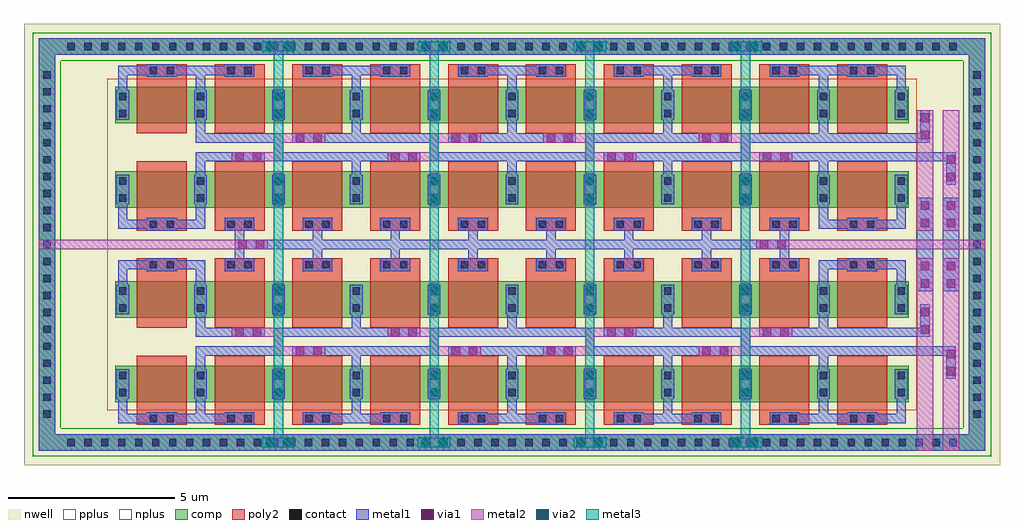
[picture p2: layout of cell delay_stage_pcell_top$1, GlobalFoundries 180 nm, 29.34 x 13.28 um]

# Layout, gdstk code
from math import pi, radians
import gdstk
lib = gdstk.Library(unit=1e-6, precision=5e-09)
def R(c, l, rs):  # rectangles x0, y0, x1, y1
    for r in rs: c.add(gdstk.rectangle(r[:2], r[2:], *l))
def A(c, l, x, y, w, h, nx, ny, dx, dy):  # array of equal rectangles
    R(c, l, [(x+i*dx, y+j*dy, x+i*dx+w, y+j*dy+h) for i in range(nx) for j in range(ny)])
nwell = (21, 0)
comp = (22, 0)
poly2 = (30, 0)
pplus = (31, 0)
nplus = (32, 0)
contact = (33, 0)
metal1 = (34, 0)
via1 = (35, 0)
metal2 = (36, 0)
via2 = (38, 0)
metal3 = (42, 0)

m1_m2_3_1 = lib.new_cell('M1_M2$3$1')
R(m1_m2_3_1, via1, [(0.1,0.01,0.36,0.27), (0.62,0.01,0.88,0.27)])
m1_m2_3_1.add(gdstk.FlexPath([(0,0.14),(0.98,0.14)], 0.28, ends="flush", simple_path=True, layer=34, datatype=0))  # metal1
m1_m2_3_1.add(gdstk.FlexPath([(0,0.14),(0.98,0.14)], 0.28, ends="flush", simple_path=True, layer=36, datatype=0))  # metal2

delay_stage_pcell_1_1_1_ = lib.new_cell('delay_stage_pcell_1$1$1$1')
R(delay_stage_pcell_1_1_1_, comp, [(0.17,0.3,0.63,1.4), (0.63,0.3,2.51,1.4), (2.51,0.3,2.97,1.4)])
R(delay_stage_pcell_1_1_1_, poly2, [(0.82,0,2.32,1.7)])
R(delay_stage_pcell_1_1_1_, contact, [(0.29,0.485,0.51,0.705), (2.63,0.485,2.85,0.705), (0.29,0.995,0.51,1.215), (2.63,0.995,2.85,1.215)])
R(delay_stage_pcell_1_1_1_, metal1, [(0.21,0.405,0.59,1.295), (2.55,0.405,2.93,1.295)])

delay_stage_pcell_1_4_1_ = lib.new_cell('delay_stage_pcell_1_4$1$1')
R(delay_stage_pcell_1_4_1_, poly2, [(0.65,0,2.15,0.38), (0.65,4.62,2.15,5), (0.65,5.84,2.15,6.22), (0.65,10.46,2.15,10.84)])
R(delay_stage_pcell_1_4_1_, contact, [(1.035,0.08,1.255,0.3), (1.545,0.08,1.765,0.3), (1.035,4.7,1.255,4.92), (1.545,4.7,1.765,4.92), (1.035,5.92,1.255,6.14), (1.545,5.92,1.765,6.14), (1.035,10.54,1.255,10.76), (1.545,10.54,1.765,10.76)])
R(delay_stage_pcell_1_4_1_, metal1, [(0.955,0,1.845,0.38), (0.955,4.62,1.845,5), (0.955,5.84,1.845,6.22), (0.955,10.46,1.845,10.84)])
delay_stage_pcell_1_4_1_.add(gdstk.FlexPath([(2.57,10.055),(2.57,10.65),(0.23,10.65),(0.23,10.055)], 0.28, ends="flush", simple_path=True, layer=34, datatype=0))  # metal1
delay_stage_pcell_1_4_1_.add(gdstk.FlexPath([(2.57,0.785),(2.57,0.19),(0.23,0.19),(0.23,0.785)], 0.28, ends="flush", simple_path=True, layer=34, datatype=0))  # metal1
delay_stage_pcell_1_4_1_.add(gdstk.FlexPath([(2.57,6.625),(2.57,6.03),(0.23,6.03),(0.23,6.625)], 0.28, ends="flush", simple_path=True, layer=34, datatype=0))  # metal1
delay_stage_pcell_1_4_1_.add(gdstk.FlexPath([(2.57,4.215),(2.57,4.81),(0.23,4.81),(0.23,4.215)], 0.28, ends="flush", simple_path=True, layer=34, datatype=0))  # metal1
delay_stage_pcell_1_4_1_.add(gdstk.Reference(delay_stage_pcell_1_1_1_, (-0.17,6.22)))
delay_stage_pcell_1_4_1_.add(gdstk.Reference(delay_stage_pcell_1_1_1_, (-0.17,0.38)))
delay_stage_pcell_1_4_1_.add(gdstk.Reference(delay_stage_pcell_1_1_1_, (-0.17,2.92)))
delay_stage_pcell_1_4_1_.add(gdstk.Reference(delay_stage_pcell_1_1_1_, (-0.17,8.76)))

delay_stage_pcell_1_2_2_ = lib.new_cell('delay_stage_pcell_1$2$2$1$1')
R(delay_stage_pcell_1_2_2_, comp, [(0.17,0.3,0.63,1.4), (0.63,0.3,2.51,1.4), (2.51,0.3,2.97,1.4)])
R(delay_stage_pcell_1_2_2_, poly2, [(0.82,0,2.32,1.7)])
R(delay_stage_pcell_1_2_2_, contact, [(0.29,0.485,0.51,0.705), (2.63,0.485,2.85,0.705), (0.29,0.995,0.51,1.215), (2.63,0.995,2.85,1.215)])
R(delay_stage_pcell_1_2_2_, metal1, [(0.21,0.405,0.59,1.295), (2.55,0.405,2.93,1.295)])

delay_stage_pcell_4_2_1_ = lib.new_cell('delay_stage_pcell_4$2$1$1')
delay_stage_pcell_4_2_1_.add(gdstk.Reference(delay_stage_pcell_1_2_2_, (-0.17,0)))
delay_stage_pcell_4_2_1_.add(gdstk.Reference(delay_stage_pcell_1_2_2_, (2.17,0)))
delay_stage_pcell_4_2_1_.add(gdstk.Reference(delay_stage_pcell_1_2_2_, (4.51,0)))
delay_stage_pcell_4_2_1_.add(gdstk.Reference(delay_stage_pcell_1_2_2_, (6.85,0)))

delay_stage_pcell_4_4_1_ = lib.new_cell('delay_stage_pcell_4_4$1$1')
R(delay_stage_pcell_4_4_1_, poly2, [(0.65,0,2.15,0.38), (0.65,0,2.15,0.38), (2.99,0,4.49,0.38), (2.99,0,4.49,0.38), (5.33,0,6.83,0.38), (5.33,0,6.83,0.38), (7.67,0,9.17,0.38), (7.67,0,9.17,0.38), (0.65,4.62,2.15,5), (0.65,4.62,2.15,5), (2.99,4.62,4.49,5), (2.99,4.62,4.49,5), (5.33,4.62,6.83,5), (5.33,4.62,6.83,5), (7.67,4.62,9.17,5), (7.67,4.62,9.17,5), (0.65,5.84,2.15,6.22), (0.65,5.84,2.15,6.22), (2.99,5.84,4.49,6.22), (2.99,5.84,4.49,6.22), (5.33,5.84,6.83,6.22), (5.33,5.84,6.83,6.22), (7.67,5.84,9.17,6.22), (7.67,5.84,9.17,6.22), (0.65,10.46,2.15,10.84), (0.65,10.46,2.15,10.84), (2.99,10.46,4.49,10.84), (2.99,10.46,4.49,10.84), (5.33,10.46,6.83,10.84), (5.33,10.46,6.83,10.84), (7.67,10.46,9.17,10.84), (7.67,10.46,9.17,10.84)])
R(delay_stage_pcell_4_4_1_, contact, [(1.035,0.08,1.255,0.3), (1.035,0.08,1.255,0.3), (1.545,0.08,1.765,0.3), (1.545,0.08,1.765,0.3), (3.375,0.08,3.595,0.3), (3.375,0.08,3.595,0.3), (3.885,0.08,4.105,0.3), (3.885,0.08,4.105,0.3), (5.715,0.08,5.935,0.3), (5.715,0.08,5.935,0.3), (6.225,0.08,6.445,0.3), (6.225,0.08,6.445,0.3), (8.055,0.08,8.275,0.3), (8.055,0.08,8.275,0.3), (8.565,0.08,8.785,0.3), (8.565,0.08,8.785,0.3), (1.035,4.7,1.255,4.92), (1.035,4.7,1.255,4.92), (1.545,4.7,1.765,4.92), (1.545,4.7,1.765,4.92), (3.375,4.7,3.595,4.92), (3.375,4.7,3.595,4.92), (3.885,4.7,4.105,4.92), (3.885,4.7,4.105,4.92), (5.715,4.7,5.935,4.92), (5.715,4.7,5.935,4.92), (6.225,4.7,6.445,4.92), (6.225,4.7,6.445,4.92), (8.055,4.7,8.275,4.92), (8.055,4.7,8.275,4.92), (8.565,4.7,8.785,4.92), (8.565,4.7,8.785,4.92), (1.035,5.92,1.255,6.14), (1.035,5.92,1.255,6.14), (1.545,5.92,1.765,6.14), (1.545,5.92,1.765,6.14), (3.375,5.92,3.595,6.14), (3.375,5.92,3.595,6.14), (3.885,5.92,4.105,6.14), (3.885,5.92,4.105,6.14), (5.715,5.92,5.935,6.14), (5.715,5.92,5.935,6.14), (6.225,5.92,6.445,6.14), (6.225,5.92,6.445,6.14), (8.055,5.92,8.275,6.14), (8.055,5.92,8.275,6.14), (8.565,5.92,8.785,6.14), (8.565,5.92,8.785,6.14), (1.035,10.54,1.255,10.76), (1.035,10.54,1.255,10.76), (1.545,10.54,1.765,10.76), (1.545,10.54,1.765,10.76), (3.375,10.54,3.595,10.76), (3.375,10.54,3.595,10.76), (3.885,10.54,4.105,10.76), (3.885,10.54,4.105,10.76), (5.715,10.54,5.935,10.76), (5.715,10.54,5.935,10.76), (6.225,10.54,6.445,10.76), (6.225,10.54,6.445,10.76), (8.055,10.54,8.275,10.76), (8.055,10.54,8.275,10.76), (8.565,10.54,8.785,10.76), (8.565,10.54,8.785,10.76)])
R(delay_stage_pcell_4_4_1_, metal1, [(0.955,0,1.845,0.38), (3.295,0,4.185,0.38), (3.295,0,4.185,0.38), (5.635,0,6.525,0.38), (5.635,0,6.525,0.38), (7.975,0,8.865,0.38), (0.955,4.62,1.845,5), (0.955,4.62,1.845,5), (3.295,4.62,4.185,5), (3.295,4.62,4.185,5), (5.635,4.62,6.525,5), (5.635,4.62,6.525,5), (7.975,4.62,8.865,5), (0.955,5.84,1.845,6.22), (0.955,5.84,1.845,6.22), (3.295,5.84,4.185,6.22), (3.295,5.84,4.185,6.22), (5.635,5.84,6.525,6.22), (5.635,5.84,6.525,6.22), (7.975,5.84,8.865,6.22), (7.975,5.84,8.865,6.22), (0.955,10.46,1.845,10.84), (3.295,10.46,4.185,10.84), (3.295,10.46,4.185,10.84), (5.635,10.46,6.525,10.84), (5.635,10.46,6.525,10.84), (7.975,10.46,8.865,10.84)])
R(delay_stage_pcell_4_4_1_, via1, [(2.44,0.84,2.7,1.1), (7.12,0.84,7.38,1.1), (2.44,1.36,2.7,1.62), (7.12,1.36,7.38,1.62), (1.27,2.09,1.53,2.35), (1.27,2.09,1.53,2.35), (1.79,2.09,2.05,2.35), (1.79,2.09,2.05,2.35), (5.95,2.09,6.21,2.35), (5.95,2.09,6.21,2.35), (6.47,2.09,6.73,2.35), (6.47,2.09,6.73,2.35), (3.09,2.65,3.35,2.91), (3.09,2.65,3.35,2.91), (3.61,2.65,3.87,2.91), (3.61,2.65,3.87,2.91), (7.77,2.65,8.03,2.91), (7.77,2.65,8.03,2.91), (8.29,2.65,8.55,2.91), (8.29,2.65,8.55,2.91), (2.44,3.38,2.7,3.64), (7.12,3.38,7.38,3.64), (2.44,3.9,2.7,4.16), (7.12,3.9,7.38,4.16), (2.44,6.68,2.7,6.94), (7.12,6.68,7.38,6.94), (2.44,7.2,2.7,7.46), (7.12,7.2,7.38,7.46), (3.09,7.93,3.35,8.19), (3.09,7.93,3.35,8.19), (3.61,7.93,3.87,8.19), (3.61,7.93,3.87,8.19), (7.77,7.93,8.03,8.19), (7.77,7.93,8.03,8.19), (8.29,7.93,8.55,8.19), (8.29,7.93,8.55,8.19), (1.27,8.49,1.53,8.75), (1.27,8.49,1.53,8.75), (1.79,8.49,2.05,8.75), (1.79,8.49,2.05,8.75), (5.95,8.49,6.21,8.75), (5.95,8.49,6.21,8.75), (6.47,8.49,6.73,8.75), (6.47,8.49,6.73,8.75), (2.44,9.22,2.7,9.48), (7.12,9.22,7.38,9.48), (2.44,9.74,2.7,10), (7.12,9.74,7.38,10)])
R(delay_stage_pcell_4_4_1_, via2, [(2.44,0.84,2.7,1.1), (7.12,0.84,7.38,1.1), (2.44,1.36,2.7,1.62), (7.12,1.36,7.38,1.62), (2.44,3.38,2.7,3.64), (7.12,3.38,7.38,3.64), (2.44,3.9,2.7,4.16), (7.12,3.9,7.38,4.16), (2.44,6.68,2.7,6.94), (7.12,6.68,7.38,6.94), (2.44,7.2,2.7,7.46), (7.12,7.2,7.38,7.46), (2.44,9.22,2.7,9.48), (7.12,9.22,7.38,9.48), (2.44,9.74,2.7,10), (7.12,9.74,7.38,10)])
delay_stage_pcell_4_4_1_.add(gdstk.FlexPath([(8.56,5.42),(0.23,5.42)], 0.28, ends="flush", simple_path=True, layer=34, datatype=0))  # metal1
delay_stage_pcell_4_4_1_.add(gdstk.FlexPath([(4.185,10.65),(5.635,10.65)], 0.28, ends="flush", simple_path=True, layer=34, datatype=0))  # metal1
delay_stage_pcell_4_4_1_.add(gdstk.FlexPath([(4.91,10.055),(4.91,10.51)], 0.28, ends="flush", simple_path=True, layer=34, datatype=0))  # metal1
delay_stage_pcell_4_4_1_.add(gdstk.FlexPath([(0.955,10.65),(0.23,10.65),(0.23,10.055)], 0.28, ends="flush", simple_path=True, layer=34, datatype=0))  # metal1
delay_stage_pcell_4_4_1_.add(gdstk.FlexPath([(8.865,10.65),(9.59,10.65),(9.59,10.055)], 0.28, ends="flush", simple_path=True, layer=34, datatype=0))  # metal1
delay_stage_pcell_4_4_1_.add(gdstk.FlexPath([(4.185,0.19),(5.635,0.19)], 0.28, ends="flush", simple_path=True, layer=34, datatype=0))  # metal1
delay_stage_pcell_4_4_1_.add(gdstk.FlexPath([(4.91,0.785),(4.91,0.33)], 0.28, ends="flush", simple_path=True, layer=34, datatype=0))  # metal1
delay_stage_pcell_4_4_1_.add(gdstk.FlexPath([(0.955,0.19),(0.23,0.19),(0.23,0.785)], 0.28, ends="flush", simple_path=True, layer=34, datatype=0))  # metal1
delay_stage_pcell_4_4_1_.add(gdstk.FlexPath([(8.865,0.19),(9.59,0.19),(9.59,0.785)], 0.28, ends="flush", simple_path=True, layer=34, datatype=0))  # metal1
delay_stage_pcell_4_4_1_.add(gdstk.FlexPath([(9.59,1.675),(9.59,2.22),(8.65,2.22)], 0.28, ends="flush", simple_path=True, layer=34, datatype=0))  # metal1
delay_stage_pcell_4_4_1_.add(gdstk.FlexPath([(9.59,1.675),(9.59,2.22),(8.65,2.22)], 0.28, ends="flush", simple_path=True, layer=34, datatype=0))  # metal1
delay_stage_pcell_4_4_1_.add(gdstk.FlexPath([(4.91,1.675),(4.91,2.08)], 0.28, ends="flush", simple_path=True, layer=34, datatype=0))  # metal1
delay_stage_pcell_4_4_1_.add(gdstk.FlexPath([(4.91,1.675),(4.91,2.08)], 0.28, ends="flush", simple_path=True, layer=34, datatype=0))  # metal1
delay_stage_pcell_4_4_1_.add(gdstk.FlexPath([(0.23,1.675),(0.23,2.22),(1.17,2.22)], 0.28, ends="flush", simple_path=True, layer=34, datatype=0))  # metal1
delay_stage_pcell_4_4_1_.add(gdstk.FlexPath([(0.23,1.675),(0.23,2.22),(1.17,2.22)], 0.28, ends="flush", simple_path=True, layer=34, datatype=0))  # metal1
delay_stage_pcell_4_4_1_.add(gdstk.FlexPath([(8.65,2.22),(7.25,2.22),(7.25,2.78),(5.85,2.78)], 0.28, ends="flush", simple_path=True, layer=34, datatype=0))  # metal1
delay_stage_pcell_4_4_1_.add(gdstk.FlexPath([(8.65,2.22),(7.25,2.22),(7.25,2.78),(5.85,2.78)], 0.28, ends="flush", simple_path=True, layer=34, datatype=0))  # metal1
delay_stage_pcell_4_4_1_.add(gdstk.FlexPath([(6.83,2.22),(5.85,2.22)], 0.28, ends="flush", simple_path=True, layer=34, datatype=0))  # metal1
delay_stage_pcell_4_4_1_.add(gdstk.FlexPath([(6.83,2.22),(5.85,2.22)], 0.28, ends="flush", simple_path=True, layer=34, datatype=0))  # metal1
delay_stage_pcell_4_4_1_.add(gdstk.FlexPath([(3.97,2.22),(5.85,2.22)], 0.28, ends="flush", simple_path=True, layer=34, datatype=0))  # metal1
delay_stage_pcell_4_4_1_.add(gdstk.FlexPath([(3.97,2.22),(5.85,2.22)], 0.28, ends="flush", simple_path=True, layer=34, datatype=0))  # metal1
delay_stage_pcell_4_4_1_.add(gdstk.FlexPath([(3.97,2.22),(2.57,2.22),(2.57,2.78),(1.17,2.78)], 0.28, ends="flush", simple_path=True, layer=34, datatype=0))  # metal1
delay_stage_pcell_4_4_1_.add(gdstk.FlexPath([(3.97,2.22),(2.57,2.22),(2.57,2.78),(1.17,2.78)], 0.28, ends="flush", simple_path=True, layer=34, datatype=0))  # metal1
delay_stage_pcell_4_4_1_.add(gdstk.FlexPath([(2.15,2.22),(1.17,2.22)], 0.28, ends="flush", simple_path=True, layer=34, datatype=0))  # metal1
delay_stage_pcell_4_4_1_.add(gdstk.FlexPath([(2.15,2.22),(1.17,2.22)], 0.28, ends="flush", simple_path=True, layer=34, datatype=0))  # metal1
delay_stage_pcell_4_4_1_.add(gdstk.FlexPath([(8.65,2.78),(7.67,2.78)], 0.28, ends="flush", simple_path=True, layer=34, datatype=0))  # metal1
delay_stage_pcell_4_4_1_.add(gdstk.FlexPath([(8.65,2.78),(7.67,2.78)], 0.28, ends="flush", simple_path=True, layer=34, datatype=0))  # metal1
delay_stage_pcell_4_4_1_.add(gdstk.FlexPath([(3.97,2.78),(5.85,2.78)], 0.28, ends="flush", simple_path=True, layer=34, datatype=0))  # metal1
delay_stage_pcell_4_4_1_.add(gdstk.FlexPath([(3.97,2.78),(5.85,2.78)], 0.28, ends="flush", simple_path=True, layer=34, datatype=0))  # metal1
delay_stage_pcell_4_4_1_.add(gdstk.FlexPath([(3.97,2.78),(2.99,2.78)], 0.28, ends="flush", simple_path=True, layer=34, datatype=0))  # metal1
delay_stage_pcell_4_4_1_.add(gdstk.FlexPath([(3.97,2.78),(2.99,2.78)], 0.28, ends="flush", simple_path=True, layer=34, datatype=0))  # metal1
delay_stage_pcell_4_4_1_.add(gdstk.FlexPath([(1.17,2.78),(0.23,2.78),(0.23,3.325)], 0.28, ends="flush", simple_path=True, layer=34, datatype=0))  # metal1
delay_stage_pcell_4_4_1_.add(gdstk.FlexPath([(1.17,2.78),(0.23,2.78),(0.23,3.325)], 0.28, ends="flush", simple_path=True, layer=34, datatype=0))  # metal1
delay_stage_pcell_4_4_1_.add(gdstk.FlexPath([(9.59,3.325),(9.59,2.78),(8.65,2.78)], 0.28, ends="flush", simple_path=True, layer=34, datatype=0))  # metal1
delay_stage_pcell_4_4_1_.add(gdstk.FlexPath([(9.59,3.325),(9.59,2.78),(8.65,2.78)], 0.28, ends="flush", simple_path=True, layer=34, datatype=0))  # metal1
delay_stage_pcell_4_4_1_.add(gdstk.FlexPath([(4.91,3.325),(4.91,2.92)], 0.28, ends="flush", simple_path=True, layer=34, datatype=0))  # metal1
delay_stage_pcell_4_4_1_.add(gdstk.FlexPath([(4.91,3.325),(4.91,2.92)], 0.28, ends="flush", simple_path=True, layer=34, datatype=0))  # metal1
delay_stage_pcell_4_4_1_.add(gdstk.FlexPath([(9.59,7.515),(9.59,8.06),(8.65,8.06)], 0.28, ends="flush", simple_path=True, layer=34, datatype=0))  # metal1
delay_stage_pcell_4_4_1_.add(gdstk.FlexPath([(9.59,9.165),(9.59,8.62),(8.65,8.62)], 0.28, ends="flush", simple_path=True, layer=34, datatype=0))  # metal1
delay_stage_pcell_4_4_1_.add(gdstk.FlexPath([(4.91,9.165),(4.91,8.76)], 0.28, ends="flush", simple_path=True, layer=34, datatype=0))  # metal1
delay_stage_pcell_4_4_1_.add(gdstk.FlexPath([(4.91,7.515),(4.91,7.92)], 0.28, ends="flush", simple_path=True, layer=34, datatype=0))  # metal1
delay_stage_pcell_4_4_1_.add(gdstk.FlexPath([(1.17,8.06),(0.23,8.06),(0.23,7.515)], 0.28, ends="flush", simple_path=True, layer=34, datatype=0))  # metal1
delay_stage_pcell_4_4_1_.add(gdstk.FlexPath([(0.23,9.165),(0.23,8.62),(1.17,8.62)], 0.28, ends="flush", simple_path=True, layer=34, datatype=0))  # metal1
delay_stage_pcell_4_4_1_.add(gdstk.FlexPath([(8.65,8.62),(7.25,8.62),(7.25,8.06),(5.85,8.06)], 0.28, ends="flush", simple_path=True, layer=34, datatype=0))  # metal1
delay_stage_pcell_4_4_1_.add(gdstk.FlexPath([(3.97,8.62),(2.57,8.62),(2.57,8.06),(1.17,8.06)], 0.28, ends="flush", simple_path=True, layer=34, datatype=0))  # metal1
delay_stage_pcell_4_4_1_.add(gdstk.FlexPath([(2.15,8.62),(1.17,8.62)], 0.28, ends="flush", simple_path=True, layer=34, datatype=0))  # metal1
delay_stage_pcell_4_4_1_.add(gdstk.FlexPath([(3.97,8.06),(2.99,8.06)], 0.28, ends="flush", simple_path=True, layer=34, datatype=0))  # metal1
delay_stage_pcell_4_4_1_.add(gdstk.FlexPath([(8.65,8.06),(7.67,8.06)], 0.28, ends="flush", simple_path=True, layer=34, datatype=0))  # metal1
delay_stage_pcell_4_4_1_.add(gdstk.FlexPath([(6.83,8.62),(5.85,8.62)], 0.28, ends="flush", simple_path=True, layer=34, datatype=0))  # metal1
delay_stage_pcell_4_4_1_.add(gdstk.FlexPath([(3.97,8.62),(5.85,8.62)], 0.28, ends="flush", simple_path=True, layer=34, datatype=0))  # metal1
delay_stage_pcell_4_4_1_.add(gdstk.FlexPath([(3.97,8.06),(5.85,8.06)], 0.28, ends="flush", simple_path=True, layer=34, datatype=0))  # metal1
delay_stage_pcell_4_4_1_.add(gdstk.FlexPath([(3.97,8.06),(5.85,8.06)], 0.28, ends="flush", simple_path=True, layer=34, datatype=0))  # metal1
delay_stage_pcell_4_4_1_.add(gdstk.FlexPath([(3.97,8.62),(5.85,8.62)], 0.28, ends="flush", simple_path=True, layer=34, datatype=0))  # metal1
delay_stage_pcell_4_4_1_.add(gdstk.FlexPath([(6.83,8.62),(5.85,8.62)], 0.28, ends="flush", simple_path=True, layer=34, datatype=0))  # metal1
delay_stage_pcell_4_4_1_.add(gdstk.FlexPath([(8.65,8.06),(7.67,8.06)], 0.28, ends="flush", simple_path=True, layer=34, datatype=0))  # metal1
delay_stage_pcell_4_4_1_.add(gdstk.FlexPath([(3.97,8.06),(2.99,8.06)], 0.28, ends="flush", simple_path=True, layer=34, datatype=0))  # metal1
delay_stage_pcell_4_4_1_.add(gdstk.FlexPath([(2.15,8.62),(1.17,8.62)], 0.28, ends="flush", simple_path=True, layer=34, datatype=0))  # metal1
delay_stage_pcell_4_4_1_.add(gdstk.FlexPath([(3.97,8.62),(2.57,8.62),(2.57,8.06),(1.17,8.06)], 0.28, ends="flush", simple_path=True, layer=34, datatype=0))  # metal1
delay_stage_pcell_4_4_1_.add(gdstk.FlexPath([(8.65,8.62),(7.25,8.62),(7.25,8.06),(5.85,8.06)], 0.28, ends="flush", simple_path=True, layer=34, datatype=0))  # metal1
delay_stage_pcell_4_4_1_.add(gdstk.FlexPath([(0.23,9.165),(0.23,8.62),(1.17,8.62)], 0.28, ends="flush", simple_path=True, layer=34, datatype=0))  # metal1
delay_stage_pcell_4_4_1_.add(gdstk.FlexPath([(1.17,8.06),(0.23,8.06),(0.23,7.515)], 0.28, ends="flush", simple_path=True, layer=34, datatype=0))  # metal1
delay_stage_pcell_4_4_1_.add(gdstk.FlexPath([(4.91,7.515),(4.91,7.92)], 0.28, ends="flush", simple_path=True, layer=34, datatype=0))  # metal1
delay_stage_pcell_4_4_1_.add(gdstk.FlexPath([(4.91,9.165),(4.91,8.76)], 0.28, ends="flush", simple_path=True, layer=34, datatype=0))  # metal1
delay_stage_pcell_4_4_1_.add(gdstk.FlexPath([(9.59,9.165),(9.59,8.62),(8.65,8.62)], 0.28, ends="flush", simple_path=True, layer=34, datatype=0))  # metal1
delay_stage_pcell_4_4_1_.add(gdstk.FlexPath([(9.59,7.515),(9.59,8.06),(8.65,8.06)], 0.28, ends="flush", simple_path=True, layer=34, datatype=0))  # metal1
delay_stage_pcell_4_4_1_.add(gdstk.FlexPath([(8.42,5),(8.42,5.28)], 0.28, ends="flush", simple_path=True, layer=34, datatype=0))  # metal1
delay_stage_pcell_4_4_1_.add(gdstk.FlexPath([(8.42,5.84),(8.42,5.56)], 0.28, ends="flush", simple_path=True, layer=34, datatype=0))  # metal1
delay_stage_pcell_4_4_1_.add(gdstk.FlexPath([(6.08,5),(6.08,5.28)], 0.28, ends="flush", simple_path=True, layer=34, datatype=0))  # metal1
delay_stage_pcell_4_4_1_.add(gdstk.FlexPath([(6.08,5.84),(6.08,5.56)], 0.28, ends="flush", simple_path=True, layer=34, datatype=0))  # metal1
delay_stage_pcell_4_4_1_.add(gdstk.FlexPath([(3.74,5),(3.74,5.28)], 0.28, ends="flush", simple_path=True, layer=34, datatype=0))  # metal1
delay_stage_pcell_4_4_1_.add(gdstk.FlexPath([(3.74,5.84),(3.74,5.56)], 0.28, ends="flush", simple_path=True, layer=34, datatype=0))  # metal1
delay_stage_pcell_4_4_1_.add(gdstk.FlexPath([(1.4,5),(1.4,5.28)], 0.28, ends="flush", simple_path=True, layer=34, datatype=0))  # metal1
delay_stage_pcell_4_4_1_.add(gdstk.FlexPath([(1.4,5.84),(1.4,5.56)], 0.28, ends="flush", simple_path=True, layer=34, datatype=0))  # metal1
delay_stage_pcell_4_4_1_.add(gdstk.FlexPath([(8.65,2.78),(7.25,2.78),(7.25,2.22),(5.85,2.22)], 0.28, ends="flush", simple_path=True, layer=36, datatype=0))  # metal2
delay_stage_pcell_4_4_1_.add(gdstk.FlexPath([(8.65,2.78),(7.25,2.78),(7.25,2.22),(5.85,2.22)], 0.28, ends="flush", simple_path=True, layer=36, datatype=0))  # metal2
delay_stage_pcell_4_4_1_.add(gdstk.FlexPath([(3.97,2.78),(2.57,2.78),(2.57,2.22),(1.17,2.22)], 0.28, ends="flush", simple_path=True, layer=36, datatype=0))  # metal2
delay_stage_pcell_4_4_1_.add(gdstk.FlexPath([(3.97,2.78),(2.57,2.78),(2.57,2.22),(1.17,2.22)], 0.28, ends="flush", simple_path=True, layer=36, datatype=0))  # metal2
delay_stage_pcell_4_4_1_.add(gdstk.FlexPath([(3.97,8.06),(2.57,8.06),(2.57,8.62),(1.17,8.62)], 0.28, ends="flush", simple_path=True, layer=36, datatype=0))  # metal2
delay_stage_pcell_4_4_1_.add(gdstk.FlexPath([(8.65,8.06),(7.25,8.06),(7.25,8.62),(5.85,8.62)], 0.28, ends="flush", simple_path=True, layer=36, datatype=0))  # metal2
delay_stage_pcell_4_4_1_.add(gdstk.FlexPath([(8.65,8.06),(7.25,8.06),(7.25,8.62),(5.85,8.62)], 0.28, ends="flush", simple_path=True, layer=36, datatype=0))  # metal2
delay_stage_pcell_4_4_1_.add(gdstk.FlexPath([(3.97,8.06),(2.57,8.06),(2.57,8.62),(1.17,8.62)], 0.28, ends="flush", simple_path=True, layer=36, datatype=0))  # metal2
delay_stage_pcell_4_4_1_.add(gdstk.FlexPath([(7.25,6.58),(7.25,7.56)], 0.28, ends="flush", simple_path=True, layer=36, datatype=0))  # metal2
delay_stage_pcell_4_4_1_.add(gdstk.FlexPath([(7.25,9.12),(7.25,10.1)], 0.28, ends="flush", simple_path=True, layer=36, datatype=0))  # metal2
delay_stage_pcell_4_4_1_.add(gdstk.FlexPath([(2.57,6.58),(2.57,7.56)], 0.28, ends="flush", simple_path=True, layer=36, datatype=0))  # metal2
delay_stage_pcell_4_4_1_.add(gdstk.FlexPath([(7.25,3.28),(7.25,4.26)], 0.28, ends="flush", simple_path=True, layer=36, datatype=0))  # metal2
delay_stage_pcell_4_4_1_.add(gdstk.FlexPath([(2.57,3.28),(2.57,4.26)], 0.28, ends="flush", simple_path=True, layer=36, datatype=0))  # metal2
delay_stage_pcell_4_4_1_.add(gdstk.FlexPath([(7.25,0.74),(7.25,1.72)], 0.28, ends="flush", simple_path=True, layer=36, datatype=0))  # metal2
delay_stage_pcell_4_4_1_.add(gdstk.FlexPath([(2.57,0.74),(2.57,1.72)], 0.28, ends="flush", simple_path=True, layer=36, datatype=0))  # metal2
delay_stage_pcell_4_4_1_.add(gdstk.FlexPath([(2.57,9.12),(2.57,10.1)], 0.28, ends="flush", simple_path=True, layer=36, datatype=0))  # metal2
delay_stage_pcell_4_4_1_.add(gdstk.FlexPath([(7.25,6.58),(7.25,7.56)], 0.28, ends="flush", simple_path=True, layer=42, datatype=0))  # metal3
delay_stage_pcell_4_4_1_.add(gdstk.FlexPath([(7.25,9.12),(7.25,10.1)], 0.28, ends="flush", simple_path=True, layer=42, datatype=0))  # metal3
delay_stage_pcell_4_4_1_.add(gdstk.FlexPath([(2.57,6.58),(2.57,7.56)], 0.28, ends="flush", simple_path=True, layer=42, datatype=0))  # metal3
delay_stage_pcell_4_4_1_.add(gdstk.FlexPath([(7.25,3.28),(7.25,4.26)], 0.28, ends="flush", simple_path=True, layer=42, datatype=0))  # metal3
delay_stage_pcell_4_4_1_.add(gdstk.FlexPath([(2.57,3.28),(2.57,4.26)], 0.28, ends="flush", simple_path=True, layer=42, datatype=0))  # metal3
delay_stage_pcell_4_4_1_.add(gdstk.FlexPath([(7.25,0.74),(7.25,1.72)], 0.28, ends="flush", simple_path=True, layer=42, datatype=0))  # metal3
delay_stage_pcell_4_4_1_.add(gdstk.FlexPath([(2.57,0.74),(2.57,1.72)], 0.28, ends="flush", simple_path=True, layer=42, datatype=0))  # metal3
delay_stage_pcell_4_4_1_.add(gdstk.FlexPath([(2.57,9.12),(2.57,10.1)], 0.28, ends="flush", simple_path=True, layer=42, datatype=0))  # metal3
delay_stage_pcell_4_4_1_.add(gdstk.Reference(delay_stage_pcell_4_2_1_, (9.82,7.92), rotation=pi))
delay_stage_pcell_4_4_1_.add(gdstk.Reference(delay_stage_pcell_4_2_1_, (9.82,2.08), rotation=pi))
delay_stage_pcell_4_4_1_.add(gdstk.Reference(delay_stage_pcell_4_2_1_, (9.82,8.76), rotation=pi, x_reflection=True))
delay_stage_pcell_4_4_1_.add(gdstk.Reference(delay_stage_pcell_4_2_1_, (9.82,2.92), rotation=pi, x_reflection=True))

delay_stage_pcell_top_1 = lib.new_cell('delay_stage_pcell_top$1')
R(delay_stage_pcell_top_1, nwell, [(0,0,29.34,13.28)])
R(delay_stage_pcell_top_1, pplus, [(2.5,1.66,26.84,11.62)])
A(delay_stage_pcell_top_1, contact, 1.3, 0.58, 0.22, 0.22, 53, 2, 0.51, 11.9)
A(delay_stage_pcell_top_1, contact, 0.58, 1.43, 0.22, 0.22, 1, 21, 0, 0.51)
A(delay_stage_pcell_top_1, contact, 28.54, 1.43, 0.22, 0.22, 1, 21, 0, 0.51)
R(delay_stage_pcell_top_1, via1, [(7.26,0.56,7.52,0.82), (7.78,0.56,8.04,0.82), (11.94,0.56,12.2,0.82), (12.46,0.56,12.72,0.82), (16.62,0.56,16.88,0.82), (17.14,0.56,17.4,0.82), (21.3,0.56,21.56,0.82), (21.82,0.56,22.08,0.82), (27.74,2.7,28,2.96), (27.74,2.7,28,2.96), (27.74,3.22,28,3.48), (27.74,3.22,28,3.48), (26.96,3.96,27.22,4.22), (26.96,3.96,27.22,4.22), (26.96,4.48,27.22,4.74), (26.96,4.48,27.22,4.74), (26.96,5.34,27.22,5.6), (26.96,5.34,27.22,5.6), (27.74,5.34,28,5.6), (27.74,5.34,28,5.6), (26.96,5.86,27.22,6.12), (26.96,5.86,27.22,6.12), (27.74,5.86,28,6.12), (27.74,5.86,28,6.12), (26.96,7.16,27.22,7.42), (26.96,7.16,27.22,7.42), (27.74,7.16,28,7.42), (27.74,7.16,28,7.42), (26.96,7.68,27.22,7.94), (26.96,7.68,27.22,7.94), (27.74,7.68,28,7.94), (27.74,7.68,28,7.94), (27.74,8.54,28,8.8), (27.74,8.54,28,8.8), (27.74,9.06,28,9.32), (27.74,9.06,28,9.32), (7.26,12.46,7.52,12.72), (7.78,12.46,8.04,12.72), (11.94,12.46,12.2,12.72), (12.46,12.46,12.72,12.72), (16.62,12.46,16.88,12.72), (17.14,12.46,17.4,12.72), (21.3,12.46,21.56,12.72), (21.82,12.46,22.08,12.72)])
R(delay_stage_pcell_top_1, via2, [(7.26,0.56,7.52,0.82), (7.78,0.56,8.04,0.82), (11.94,0.56,12.2,0.82), (12.46,0.56,12.72,0.82), (16.62,0.56,16.88,0.82), (17.14,0.56,17.4,0.82), (21.3,0.56,21.56,0.82), (21.82,0.56,22.08,0.82), (7.26,12.46,7.52,12.72), (7.78,12.46,8.04,12.72), (11.94,12.46,12.2,12.72), (12.46,12.46,12.72,12.72), (16.62,12.46,16.88,12.72), (17.14,12.46,17.4,12.72), (21.3,12.46,21.56,12.72), (21.82,12.46,22.08,12.72)])
delay_stage_pcell_top_1.add(gdstk.FlexPath([(24.17,4),(27.12,4)], 0.28, ends="flush", simple_path=True, layer=34, datatype=0))  # metal1
delay_stage_pcell_top_1.add(gdstk.FlexPath([(24.17,3.44),(27.73,3.44)], 0.28, ends="flush", simple_path=True, layer=34, datatype=0))  # metal1
delay_stage_pcell_top_1.add(gdstk.FlexPath([(27.87,2.6),(27.87,3.58)], 0.28, ends="flush", simple_path=True, layer=34, datatype=0))  # metal1
delay_stage_pcell_top_1.add(gdstk.FlexPath([(27.87,2.6),(27.87,3.58)], 0.28, ends="flush", simple_path=True, layer=34, datatype=0))  # metal1
delay_stage_pcell_top_1.add(gdstk.FlexPath([(27.09,3.86),(27.09,4.84)], 0.28, ends="flush", simple_path=True, layer=34, datatype=0))  # metal1
delay_stage_pcell_top_1.add(gdstk.FlexPath([(27.09,3.86),(27.09,4.84)], 0.28, ends="flush", simple_path=True, layer=34, datatype=0))  # metal1
delay_stage_pcell_top_1.add(gdstk.FlexPath([(24.17,9.84),(26.95,9.84)], 0.28, ends="flush", simple_path=True, layer=34, datatype=0))  # metal1
delay_stage_pcell_top_1.add(gdstk.FlexPath([(24.17,9.28),(27.73,9.28)], 0.28, ends="flush", simple_path=True, layer=34, datatype=0))  # metal1
delay_stage_pcell_top_1.add(gdstk.FlexPath([(27.87,8.44),(27.87,9.42)], 0.28, ends="flush", simple_path=True, layer=34, datatype=0))  # metal1
delay_stage_pcell_top_1.add(gdstk.FlexPath([(27.87,8.44),(27.87,9.42)], 0.28, ends="flush", simple_path=True, layer=34, datatype=0))  # metal1
delay_stage_pcell_top_1.add(gdstk.FlexPath([(27.09,5.24),(27.09,6.22)], 0.28, ends="flush", simple_path=True, layer=34, datatype=0))  # metal1
delay_stage_pcell_top_1.add(gdstk.FlexPath([(28.65,12.84),(28.65,0.69),(0.69,0.69),(0.69,12.59),(28.4,12.59)], 0.5, ends="flush", simple_path=True, layer=34, datatype=0))  # metal1
delay_stage_pcell_top_1.add(gdstk.FlexPath([(27.09,5.24),(27.09,6.22)], 0.28, ends="flush", simple_path=True, layer=34, datatype=0))  # metal1
delay_stage_pcell_top_1.add(gdstk.FlexPath([(27.87,5.24),(27.87,6.22)], 0.28, ends="flush", simple_path=True, layer=34, datatype=0))  # metal1
delay_stage_pcell_top_1.add(gdstk.FlexPath([(27.87,5.24),(27.87,6.22)], 0.28, ends="flush", simple_path=True, layer=34, datatype=0))  # metal1
delay_stage_pcell_top_1.add(gdstk.FlexPath([(27.09,5.24),(27.09,8.04)], 0.5, ends="flush", simple_path=True, layer=34, datatype=0))  # metal1
delay_stage_pcell_top_1.add(gdstk.FlexPath([(27.09,7.06),(27.09,8.04)], 0.28, ends="flush", simple_path=True, layer=34, datatype=0))  # metal1
delay_stage_pcell_top_1.add(gdstk.FlexPath([(27.09,7.06),(27.09,8.04)], 0.28, ends="flush", simple_path=True, layer=34, datatype=0))  # metal1
delay_stage_pcell_top_1.add(gdstk.FlexPath([(27.87,5.24),(27.87,8.04)], 0.5, ends="flush", simple_path=True, layer=34, datatype=0))  # metal1
delay_stage_pcell_top_1.add(gdstk.FlexPath([(27.87,7.06),(27.87,8.04)], 0.28, ends="flush", simple_path=True, layer=34, datatype=0))  # metal1
delay_stage_pcell_top_1.add(gdstk.FlexPath([(27.87,7.06),(27.87,8.04)], 0.28, ends="flush", simple_path=True, layer=34, datatype=0))  # metal1
delay_stage_pcell_top_1.add(gdstk.FlexPath([(28.65,12.84),(28.65,0.69),(0.69,0.69),(0.69,12.59),(28.4,12.59)], 0.5, ends="flush", simple_path=True, layer=22, datatype=0))  # comp
delay_stage_pcell_top_1.add(gdstk.FlexPath([(27.09,7.06),(27.09,10.68)], 0.5, ends="flush", simple_path=True, layer=36, datatype=0))  # metal2
delay_stage_pcell_top_1.add(gdstk.FlexPath([(27.87,7.06),(27.87,10.68)], 0.5, ends="flush", simple_path=True, layer=36, datatype=0))  # metal2
delay_stage_pcell_top_1.add(gdstk.FlexPath([(21.2,0.69),(22.18,0.69)], 0.28, ends="flush", simple_path=True, layer=36, datatype=0))  # metal2
delay_stage_pcell_top_1.add(gdstk.FlexPath([(21.2,12.59),(22.18,12.59)], 0.28, ends="flush", simple_path=True, layer=36, datatype=0))  # metal2
delay_stage_pcell_top_1.add(gdstk.FlexPath([(16.52,0.69),(17.5,0.69)], 0.28, ends="flush", simple_path=True, layer=36, datatype=0))  # metal2
delay_stage_pcell_top_1.add(gdstk.FlexPath([(16.52,12.59),(17.5,12.59)], 0.28, ends="flush", simple_path=True, layer=36, datatype=0))  # metal2
delay_stage_pcell_top_1.add(gdstk.FlexPath([(11.84,0.69),(12.82,0.69)], 0.28, ends="flush", simple_path=True, layer=36, datatype=0))  # metal2
delay_stage_pcell_top_1.add(gdstk.FlexPath([(11.84,12.59),(12.82,12.59)], 0.28, ends="flush", simple_path=True, layer=36, datatype=0))  # metal2
delay_stage_pcell_top_1.add(gdstk.FlexPath([(7.16,0.69),(8.14,0.69)], 0.28, ends="flush", simple_path=True, layer=36, datatype=0))  # metal2
delay_stage_pcell_top_1.add(gdstk.FlexPath([(7.16,12.59),(8.14,12.59)], 0.28, ends="flush", simple_path=True, layer=36, datatype=0))  # metal2
delay_stage_pcell_top_1.add(gdstk.FlexPath([(6.34,6.64),(0.44,6.64)], 0.28, ends="flush", simple_path=True, layer=36, datatype=0))  # metal2
delay_stage_pcell_top_1.add(gdstk.FlexPath([(23,6.64),(28.9,6.64)], 0.28, ends="flush", simple_path=True, layer=36, datatype=0))  # metal2
delay_stage_pcell_top_1.add(gdstk.FlexPath([(27.09,0.44),(27.09,6.22)], 0.5, ends="flush", simple_path=True, layer=36, datatype=0))  # metal2
delay_stage_pcell_top_1.add(gdstk.FlexPath([(27.87,0.44),(27.87,6.22)], 0.5, ends="flush", simple_path=True, layer=36, datatype=0))  # metal2
delay_stage_pcell_top_1.add(gdstk.FlexPath([(21.69,12.45),(21.69,0.83)], 0.28, ends="flush", simple_path=True, layer=42, datatype=0))  # metal3
delay_stage_pcell_top_1.add(gdstk.FlexPath([(21.2,0.69),(22.18,0.69)], 0.28, ends="flush", simple_path=True, layer=42, datatype=0))  # metal3
delay_stage_pcell_top_1.add(gdstk.FlexPath([(21.2,12.59),(22.18,12.59)], 0.28, ends="flush", simple_path=True, layer=42, datatype=0))  # metal3
delay_stage_pcell_top_1.add(gdstk.FlexPath([(17.01,12.45),(17.01,0.83)], 0.28, ends="flush", simple_path=True, layer=42, datatype=0))  # metal3
delay_stage_pcell_top_1.add(gdstk.FlexPath([(16.52,0.69),(17.5,0.69)], 0.28, ends="flush", simple_path=True, layer=42, datatype=0))  # metal3
delay_stage_pcell_top_1.add(gdstk.FlexPath([(16.52,12.59),(17.5,12.59)], 0.28, ends="flush", simple_path=True, layer=42, datatype=0))  # metal3
delay_stage_pcell_top_1.add(gdstk.FlexPath([(12.33,12.45),(12.33,0.83)], 0.28, ends="flush", simple_path=True, layer=42, datatype=0))  # metal3
delay_stage_pcell_top_1.add(gdstk.FlexPath([(11.84,0.69),(12.82,0.69)], 0.28, ends="flush", simple_path=True, layer=42, datatype=0))  # metal3
delay_stage_pcell_top_1.add(gdstk.FlexPath([(11.84,12.59),(12.82,12.59)], 0.28, ends="flush", simple_path=True, layer=42, datatype=0))  # metal3
delay_stage_pcell_top_1.add(gdstk.FlexPath([(7.65,12.45),(7.65,0.83)], 0.28, ends="flush", simple_path=True, layer=42, datatype=0))  # metal3
delay_stage_pcell_top_1.add(gdstk.FlexPath([(7.16,0.69),(8.14,0.69)], 0.28, ends="flush", simple_path=True, layer=42, datatype=0))  # metal3
delay_stage_pcell_top_1.add(gdstk.FlexPath([(7.16,12.59),(8.14,12.59)], 0.28, ends="flush", simple_path=True, layer=42, datatype=0))  # metal3
delay_stage_pcell_top_1.add(gdstk.FlexPath([(28.65,13.01),(28.65,0.69),(0.69,0.69),(0.69,12.59),(29.07,12.59)], 0.84, ends="flush", simple_path=True, layer=32, datatype=0))  # nplus
delay_stage_pcell_top_1.add(gdstk.Reference(m1_m2_3_1, (6.34,6.5)))
delay_stage_pcell_top_1.add(gdstk.Reference(m1_m2_3_1, (26.95,10.68), rotation=3*pi/2))
delay_stage_pcell_top_1.add(gdstk.Reference(m1_m2_3_1, (23,6.5), rotation=pi, x_reflection=True))
delay_stage_pcell_top_1.add(gdstk.Reference(delay_stage_pcell_1_4_1_, (26.6,1.22), rotation=pi, x_reflection=True))
delay_stage_pcell_top_1.add(gdstk.Reference(delay_stage_pcell_1_4_1_, (5.54,1.22), rotation=pi, x_reflection=True))
delay_stage_pcell_top_1.add(gdstk.Reference(delay_stage_pcell_4_4_1_, (14.44,1.22)))
delay_stage_pcell_top_1.add(gdstk.Reference(delay_stage_pcell_4_4_1_, (14.9,1.22), rotation=pi, x_reflection=True))

lib.write_gds('delay_stage_pcell_top_1.gds')
